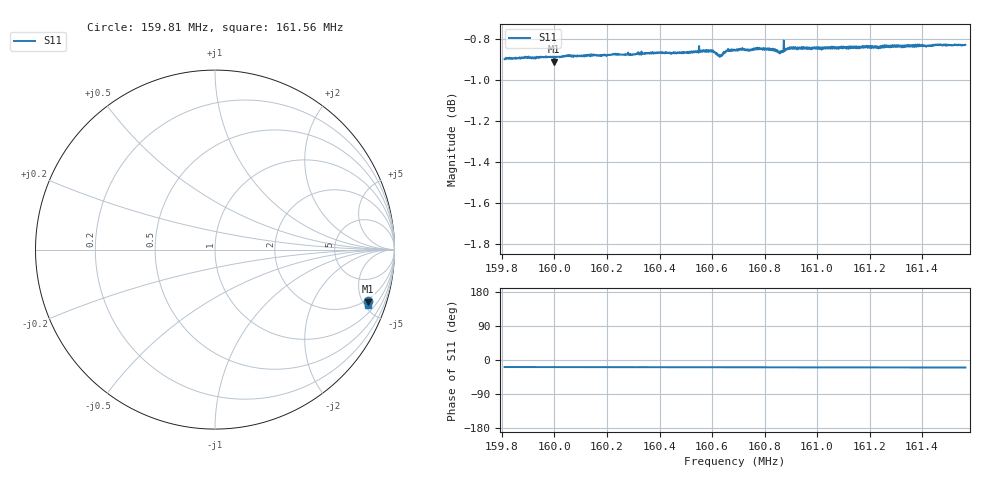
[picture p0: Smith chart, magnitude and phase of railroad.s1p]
! Calibrated averaged scanner-service zoom
# Hz S RI R 50
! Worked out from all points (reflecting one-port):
!   1001 points, 159.81 MHz to 161.56 MHz, reference 50 ohm
!   lowest |S11| = -0.9 dB at 160 MHz (marker M1), VSWR 19.08, Z = 89.1 - j274 ohm
!   phase of S11 starts at -19 deg and turns -1 deg over the sweep
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1.5981e8  0.8546 -0.2874
1.59896e8  0.8553 -0.2887
1.599995e8  0.8523 -0.2904
1.600294e8  0.8552 -0.2903
1.602488e8  0.8552 -0.2927
1.602944e8  0.8549 -0.2932
1.603225e8  0.855 -0.2936
1.604014e8  0.8558 -0.2945
1.604681e8  0.8554 -0.2956
1.605085e8  0.8553 -0.2954
1.605594e8  0.8562 -0.2962
1.605945e8  0.8561 -0.2967
1.606296e8  0.8537 -0.2937
1.606594e8  0.8556 -0.2975
1.606875e8  0.8557 -0.2979
1.607086e8  0.8564 -0.2985
1.607419e8  0.8553 -0.2984
1.607735e8  0.8567 -0.2992
1.608261e8  0.8558 -0.2997
1.608595e8  0.8526 -0.3022
1.608683e8  0.8538 -0.3017
1.608823e8  0.8553 -0.301
1.608841e8  0.8552 -0.3008
1.608911e8  0.8558 -0.3005
1.609069e8  0.8555 -0.3007
1.611262e8  0.855 -0.3031
1.613456e8  0.8558 -0.3061
1.61565e8  0.8549 -0.3085
